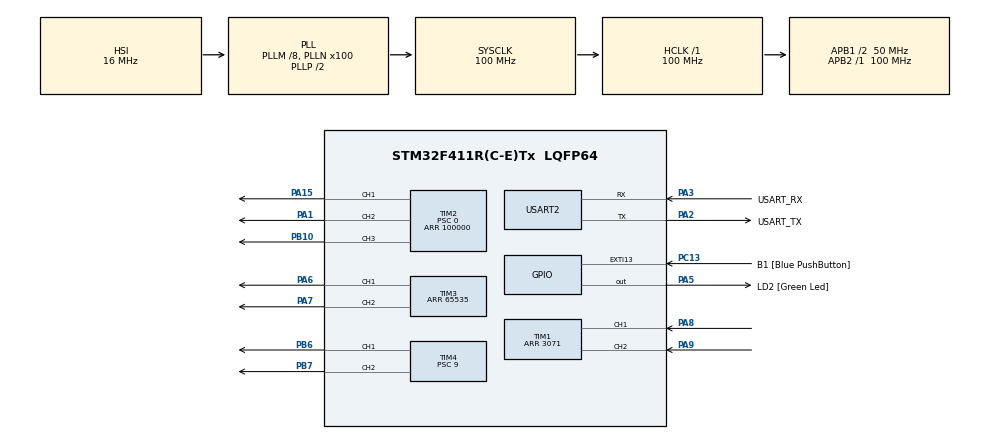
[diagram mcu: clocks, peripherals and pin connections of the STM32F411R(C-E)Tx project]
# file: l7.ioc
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Mcu.Family=STM32F4
Mcu.Name=STM32F411R(C-E)Tx
Mcu.Package=LQFP64
NVIC.PriorityGroup=NVIC_PRIORITYGROUP_0
NVIC.TIM5_IRQn=true\:0\:0\:false\:false\:true\:true\:true
PA1.Signal=S_TIM2_CH2
PA13.GPIO_Label=TMS
PA13.Mode=Serial_Wire
PA13.Signal=SYS_JTMS-SWDIO
PA14.GPIO_Label=TCK
PA14.Mode=Serial_Wire
PA14.Signal=SYS_JTCK-SWCLK
PA15.Signal=S_TIM2_CH1_ETR
PA2.GPIO_Label=USART_TX
PA2.Mode=Asynchronous
PA2.Signal=USART2_TX
PA3.GPIO_Label=USART_RX
PA3.Mode=Asynchronous
PA3.Signal=USART2_RX
PA5.GPIO_Label=LD2 [Green Led]
PA5.Signal=GPIO_Output
PA6.Signal=S_TIM3_CH1
PA7.Signal=S_TIM3_CH2
PA8.Signal=S_TIM1_CH1
PA9.Signal=S_TIM1_CH2
PB10.Signal=S_TIM2_CH3
PB3.GPIO_Label=SWO
PB3.Signal=SYS_JTDO-SWO
PB6.Signal=S_TIM4_CH1
PB7.Signal=S_TIM4_CH2
PC13-ANTI_TAMP.GPIO_Label=B1 [Blue PushButton]
PC13-ANTI_TAMP.GPIO_ModeDefaultEXTI=GPIO_MODE_IT_FALLING
PC13-ANTI_TAMP.Signal=GPXTI13
PC14-OSC32_IN.Mode=LSE-External-Oscillator
PC14-OSC32_IN.Signal=RCC_OSC32_IN
PC15-OSC32_OUT.Mode=LSE-External-Oscillator
PC15-OSC32_OUT.Signal=RCC_OSC32_OUT
PH0\ -\ OSC_IN.Mode=HSE-External-Clock-Source
PH0\ -\ OSC_IN.Signal=RCC_OSC_IN
PH1\ -\ OSC_OUT.Mode=HSE-External-Clock-Source
PH1\ -\ OSC_OUT.Signal=RCC_OSC_OUT
ProjectManager.HeapSize=0x200
ProjectManager.StackSize=0x400
ProjectManager.TargetToolchain=STM32CubeIDE
RCC.48MHZClocksFreq_Value=50000000
RCC.AHBFreq_Value=100000000
RCC.APB1CLKDivider=RCC_HCLK_DIV2
RCC.APB1Freq_Value=50000000
RCC.APB1TimFreq_Value=100000000
RCC.APB2Freq_Value=100000000
RCC.APB2TimFreq_Value=100000000
RCC.CortexFreq_Value=100000000
RCC.FLatency-AdvancedSettings=FLASH_LATENCY_3
RCC.HCLKFreq_Value=100000000
RCC.HSE_VALUE=8000000
RCC.HSI_VALUE=16000000
RCC.PLLM=8
RCC.PLLN=100
RCC.SYSCLKFreq_VALUE=100000000
RCC.SYSCLKSource=RCC_SYSCLKSOURCE_PLLCLK
RCC.VCOOutputFreq_Value=200000000
SH.S_TIM1_CH1.0=TIM1_CH1,Encoder_Interface
SH.S_TIM1_CH2.0=TIM1_CH2,Encoder_Interface
SH.S_TIM2_CH1_ETR.0=TIM2_CH1,PWM Generation1 CH1
SH.S_TIM2_CH2.0=TIM2_CH2,PWM Generation2 CH2
SH.S_TIM2_CH3.0=TIM2_CH3,PWM Generation3 CH3
SH.S_TIM3_CH1.0=TIM3_CH1,PWM Generation1 CH1
SH.S_TIM3_CH2.0=TIM3_CH2,PWM Generation2 CH2
SH.S_TIM4_CH1.0=TIM4_CH1,PWM Generation1 CH1
SH.S_TIM4_CH2.0=TIM4_CH2,PWM Generation2 CH2
TIM1.EncoderMode=TIM_ENCODERMODE_TI12
TIM1.Period=3071
TIM2.Channel-PWM\ Generation1\ CH1=TIM_CHANNEL_1
TIM2.Channel-PWM\ Generation2\ CH2=TIM_CHANNEL_2
TIM2.Channel-PWM\ Generation3\ CH3=TIM_CHANNEL_3
TIM2.Period=100000
TIM2.Prescaler=0
TIM3.Channel-PWM\ Generation1\ CH1=TIM_CHANNEL_1
TIM3.Channel-PWM\ Generation2\ CH2=TIM_CHANNEL_2
TIM3.OCMode_PWM-PWM\ Generation2\ CH2=TIM_OCMODE_PWM1
TIM3.Period=65535
TIM3.Pulse-PWM\ Generation1\ CH1=0
TIM4.Channel-PWM\ Generation1\ CH1=TIM_CHANNEL_1
TIM4.Channel-PWM\ Generation2\ CH2=TIM_CHANNEL_2
TIM4.Period=10000
TIM4.Prescaler=9
TIM5.Prescaler=99
USART2.VirtualMode=VM_ASYNC
VP_TIM2_VS_ClockSourceINT.Mode=Internal
VP_TIM3_VS_ClockSourceINT.Mode=Internal
VP_TIM4_VS_ClockSourceINT.Mode=Internal
VP_TIM5_VS_ClockSourceINT.Mode=Internal
board=NUCLEO-F411RE

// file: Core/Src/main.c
/* USER CODE BEGIN Header */
/**
 ******************************************************************************
 * @file           : main.c
 * @brief          : Main program body
 ******************************************************************************
 * @attention
 *
 * <h2><center>&copy; Copyright (c) 2021 STMicroelectronics.
 * All rights reserved.</center></h2>
 *
 * This software component is licensed by ST under BSD 3-Clause license,
 * the "License"; You may not use this file except in compliance with the
 * License. You may obtain a copy of the License at:
 *                        opensource.org/licenses/BSD-3-Clause
 *
 ******************************************************************************
 */
/* USER CODE END Header */
#include "main.h"

TIM_HandleTypeDef htim1;
TIM_HandleTypeDef htim2;
TIM_HandleTypeDef htim3;
TIM_HandleTypeDef htim4;
TIM_HandleTypeDef htim5;

UART_HandleTypeDef huart2;

/* USER CODE BEGIN PV */
uint64_t _micros = 0;
float EncoderVel = 0;
float W = 0.00;
float rpm = 0.00;

float last=0;

float Kp = 5;
float Ki = 0.05;
float Kd = 0.2;
float PWMOut = 0;
float integral =0;
float error = 0;
float sumerror=0;
float PID = 0;
float PID_p = 0;
float PID_i = 0;
float PID_d = 0;
float rpmref = 0;
float PWMOut1 = 0;
float PWMOut2 = 0;
uint64_t Timestamp_Encoder = 0;
/* USER CODE END PV */

void SystemClock_Config(void);
static void MX_GPIO_Init(void);
static void MX_USART2_UART_Init(void);
static void MX_TIM1_Init(void);
static void MX_TIM2_Init(void);
static void MX_TIM3_Init(void);
static void MX_TIM5_Init(void);
static void MX_TIM4_Init(void);
/* USER CODE BEGIN PFP */
uint64_t micros();
float EncoderVelocity_Update();
/* USER CODE END PFP */

int main(void)
{

  /* MCU Configuration--------------------------------------------------------*/

  /* Reset of all peripherals, Initializes the Flash interface and the Systick. */
  HAL_Init();

  /* Configure the system clock */
  SystemClock_Config();

  /* Initialize all configured peripherals */
  MX_GPIO_Init();
  MX_USART2_UART_Init();
  MX_TIM1_Init();
  MX_TIM2_Init();
  MX_TIM3_Init();
  MX_TIM5_Init();
  MX_TIM4_Init();
  /* USER CODE BEGIN 2 */
	HAL_TIM_Base_Start_IT(&htim2);
//	HAL_TIM_Base_Start_IT(&htim4);
	HAL_TIM_Base_Start_IT(&htim5);
	HAL_TIM_Encoder_Start(&htim1, TIM_CHANNEL_ALL);
	HAL_TIM_PWM_Start(&htim2, TIM_CHANNEL_1);
	HAL_TIM_PWM_Start(&htim2, TIM_CHANNEL_2);
//	HAL_TIM_PWM_Start(&htim4, TIM_CHANNEL_1);
//	HAL_TIM_PWM_Start(&htim4, TIM_CHANNEL_2);
  /* USER CODE END 2 */

  /* Infinite loop */
	while (1) {

    /* USER CODE BEGIN 3 */
//	Add LPF?

		if (micros() - Timestamp_Encoder >= 1000) {
			Timestamp_Encoder = micros();
			EncoderVel = (EncoderVel * 99 + EncoderVelocity_Update()) / 100.0;
			W = EncoderVel / 3072;
			rpm = W * 60;
			__HAL_TIM_SET_COMPARE(&htim2, TIM_CHANNEL_1, PWMOut1);
			__HAL_TIM_SET_COMPARE(&htim2, TIM_CHANNEL_2, PWMOut2);
			error = rpmref - rpm;
			PID_p = Kp*error;
			PID_i = Ki*integral*1000000/(Timestamp_Encoder);
			PID_d = Kd*(error-last)*0.0001;
			PID = PID_p + PID_i + PID_d;
			last = error;
			integral += error;
			if(rpm!=rpmref && rpmref > 0 )
			{
				PWMOut1+=PID;
				PWMOut2=0;
			}
			if(rpm!=rpmref && rpmref < 0 )
			{
				PWMOut2-=PID;
				PWMOut1=0;
			}
			if(rpmref ==0 )
			{
				PWMOut1 = 0;
				PWMOut2 =0;
			}

		}

	}
  /* USER CODE END 3 */
}

void SystemClock_Config(void)
{
  RCC_OscInitTypeDef RCC_OscInitStruct = {0};
  RCC_ClkInitTypeDef RCC_ClkInitStruct = {0};

  /** Configure the main internal regulator output voltage
  */
  __HAL_RCC_PWR_CLK_ENABLE();
  __HAL_PWR_VOLTAGESCALING_CONFIG(PWR_REGULATOR_VOLTAGE_SCALE1);
  /** Initializes the RCC Oscillators according to the specified parameters
  * in the RCC_OscInitTypeDef structure.
  */
  RCC_OscInitStruct.OscillatorType = RCC_OSCILLATORTYPE_HSI;
  RCC_OscInitStruct.HSIState = RCC_HSI_ON;
  RCC_OscInitStruct.HSICalibrationValue = RCC_HSICALIBRATION_DEFAULT;
  RCC_OscInitStruct.PLL.PLLState = RCC_PLL_ON;
  RCC_OscInitStruct.PLL.PLLSource = RCC_PLLSOURCE_HSI;
  RCC_OscInitStruct.PLL.PLLM = 8;
  RCC_OscInitStruct.PLL.PLLN = 100;
  RCC_OscInitStruct.PLL.PLLP = RCC_PLLP_DIV2;
  RCC_OscInitStruct.PLL.PLLQ = 4;
  if (HAL_RCC_OscConfig(&RCC_OscInitStruct) != HAL_OK)
  {
    Error_Handler();
  }
  /** Initializes the CPU, AHB and APB buses clocks
  */
  RCC_ClkInitStruct.ClockType = RCC_CLOCKTYPE_HCLK|RCC_CLOCKTYPE_SYSCLK
                              |RCC_CLOCKTYPE_PCLK1|RCC_CLOCKTYPE_PCLK2;
  RCC_ClkInitStruct.SYSCLKSource = RCC_SYSCLKSOURCE_PLLCLK;
  RCC_ClkInitStruct.AHBCLKDivider = RCC_SYSCLK_DIV1;
  RCC_ClkInitStruct.APB1CLKDivider = RCC_HCLK_DIV2;
  RCC_ClkInitStruct.APB2CLKDivider = RCC_HCLK_DIV1;

  if (HAL_RCC_ClockConfig(&RCC_ClkInitStruct, FLASH_LATENCY_3) != HAL_OK)
  {
    Error_Handler();
  }
}

static void MX_TIM1_Init(void)
{

  TIM_Encoder_InitTypeDef sConfig = {0};
  TIM_MasterConfigTypeDef sMasterConfig = {0};

  htim1.Instance = TIM1;
  htim1.Init.Prescaler = 0;
  htim1.Init.CounterMode = TIM_COUNTERMODE_UP;
  htim1.Init.Period = 3071;
  htim1.Init.ClockDivision = TIM_CLOCKDIVISION_DIV1;
  htim1.Init.RepetitionCounter = 0;
  htim1.Init.AutoReloadPreload = TIM_AUTORELOAD_PRELOAD_DISABLE;
  sConfig.EncoderMode = TIM_ENCODERMODE_TI12;
  sConfig.IC1Polarity = TIM_ICPOLARITY_RISING;
  sConfig.IC1Selection = TIM_ICSELECTION_DIRECTTI;
  sConfig.IC1Prescaler = TIM_ICPSC_DIV1;
  sConfig.IC1Filter = 0;
  sConfig.IC2Polarity = TIM_ICPOLARITY_RISING;
  sConfig.IC2Selection = TIM_ICSELECTION_DIRECTTI;
  sConfig.IC2Prescaler = TIM_ICPSC_DIV1;
  sConfig.IC2Filter = 0;
  if (HAL_TIM_Encoder_Init(&htim1, &sConfig) != HAL_OK)
  {
    Error_Handler();
  }
  sMasterConfig.MasterOutputTrigger = TIM_TRGO_RESET;
  sMasterConfig.MasterSlaveMode = TIM_MASTERSLAVEMODE_DISABLE;
  if (HAL_TIMEx_MasterConfigSynchronization(&htim1, &sMasterConfig) != HAL_OK)
  {
    Error_Handler();
  }

}

static void MX_TIM2_Init(void)
{

  TIM_ClockConfigTypeDef sClockSourceConfig = {0};
  TIM_MasterConfigTypeDef sMasterConfig = {0};
  TIM_OC_InitTypeDef sConfigOC = {0};

  htim2.Instance = TIM2;
  htim2.Init.Prescaler = 0;
  htim2.Init.CounterMode = TIM_COUNTERMODE_UP;
  htim2.Init.Period = 100000;
  htim2.Init.ClockDivision = TIM_CLOCKDIVISION_DIV1;
  htim2.Init.AutoReloadPreload = TIM_AUTORELOAD_PRELOAD_DISABLE;
  if (HAL_TIM_Base_Init(&htim2) != HAL_OK)
  {
    Error_Handler();
  }
  sClockSourceConfig.ClockSource = TIM_CLOCKSOURCE_INTERNAL;
  if (HAL_TIM_ConfigClockSource(&htim2, &sClockSourceConfig) != HAL_OK)
  {
    Error_Handler();
  }
  if (HAL_TIM_PWM_Init(&htim2) != HAL_OK)
  {
    Error_Handler();
  }
  sMasterConfig.MasterOutputTrigger = TIM_TRGO_RESET;
  sMasterConfig.MasterSlaveMode = TIM_MASTERSLAVEMODE_DISABLE;
  if (HAL_TIMEx_MasterConfigSynchronization(&htim2, &sMasterConfig) != HAL_OK)
  {
    Error_Handler();
  }
  sConfigOC.OCMode = TIM_OCMODE_PWM1;
  sConfigOC.Pulse = 0;
  sConfigOC.OCPolarity = TIM_OCPOLARITY_HIGH;
  sConfigOC.OCFastMode = TIM_OCFAST_DISABLE;
  if (HAL_TIM_PWM_ConfigChannel(&htim2, &sConfigOC, TIM_CHANNEL_1) != HAL_OK)
  {
    Error_Handler();
  }
  if (HAL_TIM_PWM_ConfigChannel(&htim2, &sConfigOC, TIM_CHANNEL_2) != HAL_OK)
  {
    Error_Handler();
  }
  if (HAL_TIM_PWM_ConfigChannel(&htim2, &sConfigOC, TIM_CHANNEL_3) != HAL_OK)
  {
    Error_Handler();
  }
  HAL_TIM_MspPostInit(&htim2);

}

static void MX_TIM3_Init(void)
{

  TIM_ClockConfigTypeDef sClockSourceConfig = {0};
  TIM_MasterConfigTypeDef sMasterConfig = {0};
  TIM_OC_InitTypeDef sConfigOC = {0};

  htim3.Instance = TIM3;
  htim3.Init.Prescaler = 0;
  htim3.Init.CounterMode = TIM_COUNTERMODE_UP;
  htim3.Init.Period = 65535;
  htim3.Init.ClockDivision = TIM_CLOCKDIVISION_DIV1;
  htim3.Init.AutoReloadPreload = TIM_AUTORELOAD_PRELOAD_DISABLE;
  if (HAL_TIM_Base_Init(&htim3) != HAL_OK)
  {
    Error_Handler();
  }
  sClockSourceConfig.ClockSource = TIM_CLOCKSOURCE_INTERNAL;
  if (HAL_TIM_ConfigClockSource(&htim3, &sClockSourceConfig) != HAL_OK)
  {
    Error_Handler();
  }
  if (HAL_TIM_PWM_Init(&htim3) != HAL_OK)
  {
    Error_Handler();
  }
  sMasterConfig.MasterOutputTrigger = TIM_TRGO_RESET;
  sMasterConfig.MasterSlaveMode = TIM_MASTERSLAVEMODE_DISABLE;
  if (HAL_TIMEx_MasterConfigSynchronization(&htim3, &sMasterConfig) != HAL_OK)
  {
    Error_Handler();
  }
  sConfigOC.OCMode = TIM_OCMODE_PWM1;
  sConfigOC.Pulse = 0;
  sConfigOC.OCPolarity = TIM_OCPOLARITY_HIGH;
  sConfigOC.OCFastMode = TIM_OCFAST_DISABLE;
  if (HAL_TIM_PWM_ConfigChannel(&htim3, &sConfigOC, TIM_CHANNEL_1) != HAL_OK)
  {
    Error_Handler();
  }
  if (HAL_TIM_PWM_ConfigChannel(&htim3, &sConfigOC, TIM_CHANNEL_2) != HAL_OK)
  {
    Error_Handler();
  }
  HAL_TIM_MspPostInit(&htim3);

}

static void MX_TIM4_Init(void)
{

  TIM_ClockConfigTypeDef sClockSourceConfig = {0};
  TIM_MasterConfigTypeDef sMasterConfig = {0};
  TIM_OC_InitTypeDef sConfigOC = {0};

  htim4.Instance = TIM4;
  htim4.Init.Prescaler = 9;
  htim4.Init.CounterMode = TIM_COUNTERMODE_UP;
  htim4.Init.Period = 10000;
  htim4.Init.ClockDivision = TIM_CLOCKDIVISION_DIV1;
  htim4.Init.AutoReloadPreload = TIM_AUTORELOAD_PRELOAD_DISABLE;
  if (HAL_TIM_Base_Init(&htim4) != HAL_OK)
  {
    Error_Handler();
  }
  sClockSourceConfig.ClockSource = TIM_CLOCKSOURCE_INTERNAL;
  if (HAL_TIM_ConfigClockSource(&htim4, &sClockSourceConfig) != HAL_OK)
  {
    Error_Handler();
  }
  if (HAL_TIM_PWM_Init(&htim4) != HAL_OK)
  {
    Error_Handler();
  }
  sMasterConfig.MasterOutputTrigger = TIM_TRGO_RESET;
  sMasterConfig.MasterSlaveMode = TIM_MASTERSLAVEMODE_DISABLE;
  if (HAL_TIMEx_MasterConfigSynchronization(&htim4, &sMasterConfig) != HAL_OK)
  {
    Error_Handler();
  }
  sConfigOC.OCMode = TIM_OCMODE_PWM1;
  sConfigOC.Pulse = 0;
  sConfigOC.OCPolarity = TIM_OCPOLARITY_HIGH;
  sConfigOC.OCFastMode = TIM_OCFAST_DISABLE;
  if (HAL_TIM_PWM_ConfigChannel(&htim4, &sConfigOC, TIM_CHANNEL_1) != HAL_OK)
  {
    Error_Handler();
  }
  if (HAL_TIM_PWM_ConfigChannel(&htim4, &sConfigOC, TIM_CHANNEL_2) != HAL_OK)
  {
    Error_Handler();
  }
  HAL_TIM_MspPostInit(&htim4);

}

static void MX_TIM5_Init(void)
{

  TIM_ClockConfigTypeDef sClockSourceConfig = {0};
  TIM_MasterConfigTypeDef sMasterConfig = {0};

  htim5.Instance = TIM5;
  htim5.Init.Prescaler = 99;
  htim5.Init.CounterMode = TIM_COUNTERMODE_UP;
  htim5.Init.Period = 4294967295;
  htim5.Init.ClockDivision = TIM_CLOCKDIVISION_DIV1;
  htim5.Init.AutoReloadPreload = TIM_AUTORELOAD_PRELOAD_DISABLE;
  if (HAL_TIM_Base_Init(&htim5) != HAL_OK)
  {
    Error_Handler();
  }
  sClockSourceConfig.ClockSource = TIM_CLOCKSOURCE_INTERNAL;
  if (HAL_TIM_ConfigClockSource(&htim5, &sClockSourceConfig) != HAL_OK)
  {
    Error_Handler();
  }
  sMasterConfig.MasterOutputTrigger = TIM_TRGO_RESET;
  sMasterConfig.MasterSlaveMode = TIM_MASTERSLAVEMODE_DISABLE;
  if (HAL_TIMEx_MasterConfigSynchronization(&htim5, &sMasterConfig) != HAL_OK)
  {
    Error_Handler();
  }

}

static void MX_USART2_UART_Init(void)
{

  huart2.Instance = USART2;
  huart2.Init.BaudRate = 115200;
  huart2.Init.WordLength = UART_WORDLENGTH_8B;
  huart2.Init.StopBits = UART_STOPBITS_1;
  huart2.Init.Parity = UART_PARITY_NONE;
  huart2.Init.Mode = UART_MODE_TX_RX;
  huart2.Init.HwFlowCtl = UART_HWCONTROL_NONE;
  huart2.Init.OverSampling = UART_OVERSAMPLING_16;
  if (HAL_UART_Init(&huart2) != HAL_OK)
  {
    Error_Handler();
  }

}

static void MX_GPIO_Init(void)
{
  GPIO_InitTypeDef GPIO_InitStruct = {0};

  /* GPIO Ports Clock Enable */
  __HAL_RCC_GPIOC_CLK_ENABLE();
  __HAL_RCC_GPIOH_CLK_ENABLE();
  __HAL_RCC_GPIOA_CLK_ENABLE();
  __HAL_RCC_GPIOB_CLK_ENABLE();

  /*Configure GPIO pin Output Level */
  HAL_GPIO_WritePin(LD2_GPIO_Port, LD2_Pin, GPIO_PIN_RESET);

  /*Configure GPIO pin : B1_Pin */
  GPIO_InitStruct.Pin = B1_Pin;
  GPIO_InitStruct.Mode = GPIO_MODE_IT_FALLING;
  GPIO_InitStruct.Pull = GPIO_NOPULL;
  HAL_GPIO_Init(B1_GPIO_Port, &GPIO_InitStruct);

  /*Configure GPIO pin : LD2_Pin */
  GPIO_InitStruct.Pin = LD2_Pin;
  GPIO_InitStruct.Mode = GPIO_MODE_OUTPUT_PP;
  GPIO_InitStruct.Pull = GPIO_NOPULL;
  GPIO_InitStruct.Speed = GPIO_SPEED_FREQ_LOW;
  HAL_GPIO_Init(LD2_GPIO_Port, &GPIO_InitStruct);

}

/* USER CODE BEGIN 4 */
#define  HTIM_ENCODER htim1
#define  MAX_SUBPOSITION_OVERFLOW 1536
#define  MAX_ENCODER_PERIOD 3072

float EncoderVelocity_Update() {
	//Save Last state
	static uint32_t EncoderLastPosition = 0;
	static uint64_t EncoderLastTimestamp = 0;

	//read data
	uint32_t EncoderNowPosition = HTIM_ENCODER.Instance->CNT;
	uint64_t EncoderNowTimestamp = micros();

	int32_t EncoderPositionDiff;
	uint64_t EncoderTimeDiff;

	EncoderTimeDiff = EncoderNowTimestamp - EncoderLastTimestamp;
	EncoderPositionDiff = EncoderNowPosition - EncoderLastPosition;

	//compensate overflow and underflow
	if (EncoderPositionDiff >= MAX_SUBPOSITION_OVERFLOW) {
		EncoderPositionDiff -= MAX_ENCODER_PERIOD;
	} else if (-EncoderPositionDiff >= MAX_SUBPOSITION_OVERFLOW) {
		EncoderPositionDiff += MAX_ENCODER_PERIOD;
	}

	//Update Position and time
	EncoderLastPosition = EncoderNowPosition;
	EncoderLastTimestamp = EncoderNowTimestamp;

	//Calculate velocity
	//EncoderTimeDiff is in uS
	return (EncoderPositionDiff * 1000000) / (float) EncoderTimeDiff;

}

void HAL_TIM_PeriodElapsedCallback(TIM_HandleTypeDef *htim) {
	if (htim == &htim5) {
		_micros += 4294967295;
	}
}
uint64_t micros() {
	return _micros + htim5.Instance->CNT;
}
/* USER CODE END 4 */

void Error_Handler(void)
{
	__disable_irq();
	while (1) {
	}
}

/************************ (C) COPYRIGHT STMicroelectronics *****END OF FILE****/
